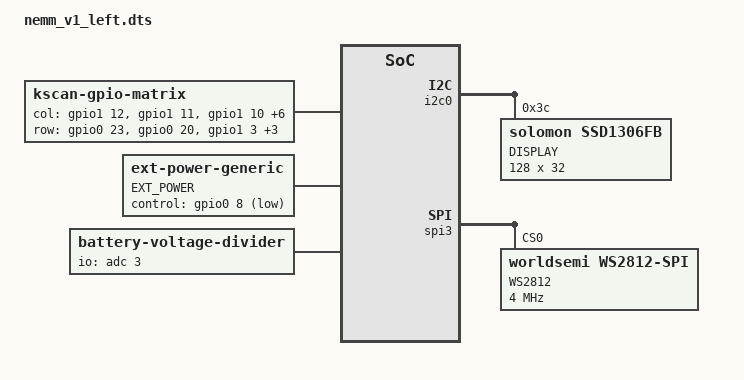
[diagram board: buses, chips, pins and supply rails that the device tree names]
/*
# Copyright (c) 2021 The ZMK Contributors
*
* SPDX-License-Identifier: MIT
*/

#include "nemm_v1.dts"
#include "nemm_v1_left_pinctrl.dtsi"

/{
	chosen {
		zephyr,display = &oled;
		zmk,battery = &vbatt;
		zmk,underglow = &led_strip;
	};

	kscan0: kscan {
		compatible = "zmk,kscan-gpio-matrix";
		label = "KSCAN";

		diode-direction = "col2row";

		col-gpios
			= <&gpio1 12 GPIO_ACTIVE_HIGH>
			, <&gpio1 11 GPIO_ACTIVE_HIGH>
			, <&gpio1 10 GPIO_ACTIVE_HIGH>
			, <&gpio1 14 GPIO_ACTIVE_HIGH>
			, <&gpio0 27 GPIO_ACTIVE_HIGH>
			, <&gpio0 12 GPIO_ACTIVE_HIGH>
			, <&gpio1 5  GPIO_ACTIVE_HIGH>
			, <&gpio1 0  GPIO_ACTIVE_HIGH>
			, <&gpio0 25 GPIO_ACTIVE_HIGH>
			;

		row-gpios
			= <&gpio0 23 (GPIO_ACTIVE_HIGH | GPIO_PULL_DOWN)>
			, <&gpio0 20 (GPIO_ACTIVE_HIGH | GPIO_PULL_DOWN)>
			, <&gpio1 3  (GPIO_ACTIVE_HIGH | GPIO_PULL_DOWN)>
			, <&gpio1 1  (GPIO_ACTIVE_HIGH | GPIO_PULL_DOWN)>
			, <&gpio1 7  (GPIO_ACTIVE_HIGH | GPIO_PULL_DOWN)>
			, <&gpio0 29 (GPIO_ACTIVE_HIGH | GPIO_PULL_DOWN)>
			;
	};

	 ext-power {
	 	compatible = "zmk,ext-power-generic";
	 	label = "EXT_POWER";
	 	control-gpios = <&gpio0 8 GPIO_ACTIVE_LOW>;   /*0.08*/
	 };

	vbatt: vbatt {
		compatible = "zmk,battery-voltage-divider";
		label = "BATTERY";
		io-channels = <&adc 3>;
		output-ohms = <10000000>;
		full-ohms   = <(10000000 + 4000000)>;
	};

};

&i2c0 {
	compatible = "nordic,nrf-twi";
	pinctrl-0 = <&i2c0_default>;
	pinctrl-1 = <&i2c0_sleep>;
	pinctrl-names = "default", "sleep";
    status = "okay";
   
   oled: ssd1306@3c {
	   compatible = "solomon,ssd1306fb";
	   reg = <0x3c>;
	   label = "DISPLAY";
	   width = <128>;
	   height = <32>;
	   segment-offset = <0>;
	   page-offset = <0>;
	   display-offset = <0>;
	   multiplex-ratio = <31>;
	   //segment-remap;
	   //com-invdir;
	   com-sequential;
	   prechargep = <0x22>;
   };
};

&spi3 {
  compatible = "nordic,nrf-spim";
  status = "okay";

  pinctrl-0 = <&spi3_default>;
  pinctrl-1 = <&spi3_sleep>;
  pinctrl-names = "default", "sleep";

  led_strip: ws2812@0 {
    compatible = "worldsemi,ws2812-spi";
    label = "WS2812";

    /* SPI */
    reg = <0>; /* ignored, but necessary for SPI bindings */
    spi-max-frequency = <4000000>;

    /* WS2812 */
    chain-length = <8>; /* number of LEDs */
    spi-one-frame = <0x70>;
    spi-zero-frame = <0x40>;
    color-mapping = <LED_COLOR_ID_GREEN
                          LED_COLOR_ID_RED
                          LED_COLOR_ID_BLUE>;
  };
};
